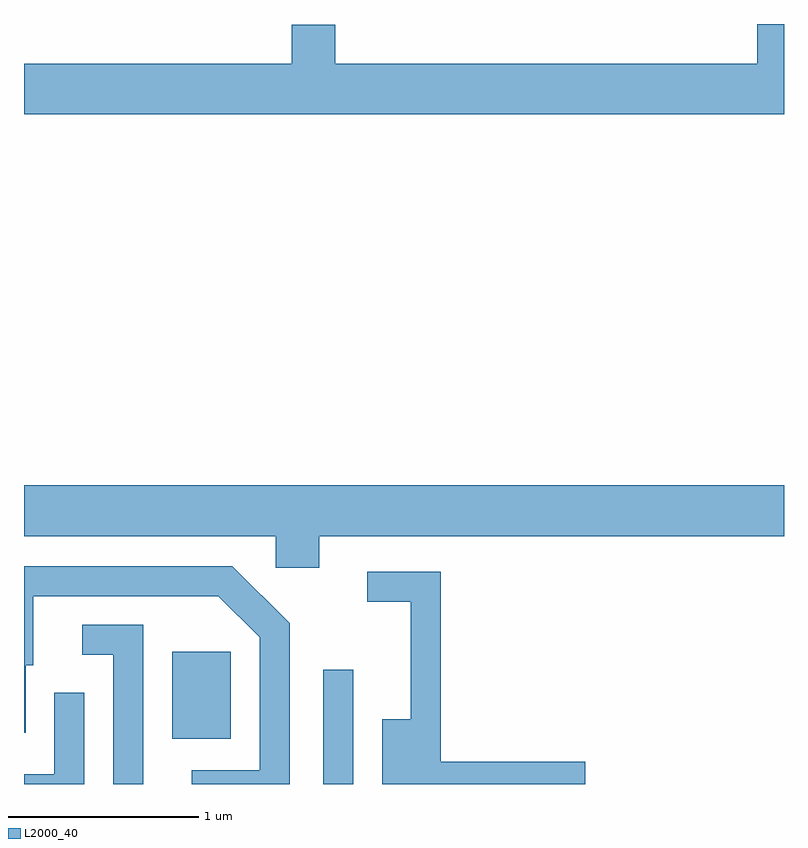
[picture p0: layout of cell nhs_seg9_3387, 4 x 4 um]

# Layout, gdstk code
import gdstk
lib = gdstk.Library(unit=1e-6, precision=1e-09)
def R(c, l, rs):  # rectangles x0, y0, x1, y1
    for r in rs: c.add(gdstk.rectangle(r[:2], r[2:], *l))
def P(c, l, *ps):  # polygons
    for p in ps: c.add(gdstk.Polygon(p, *l))
L2000_40 = (2000, 40)

nhs_seg9_3387 = lib.new_cell('nhs_seg9_3387')
R(nhs_seg9_3387, L2000_40, [(285.186,2070.432,285.344,2071.033), (284.391,2070.671,284.699,2071.129)])
P(nhs_seg9_3387, L2000_40, [(287.611,2074.432),(287.471,2074.432),(287.471,2074.224),(285.249,2074.224),(285.249,2074.429),(285.021,2074.429),(285.021,2074.224),(283.611,2074.224),(283.611,2073.956),(287.611,2073.956)],
  [(285.164,2071.736),(287.611,2071.736),(287.611,2072.004),(283.611,2072.004),(283.611,2071.736),(284.936,2071.736),(284.936,2071.571),(285.164,2071.571)],
  [(285.009,2071.277),(284.707,2071.579),(283.611,2071.579),(283.611,2070.701),(283.619,2070.701),(283.619,2071.056),(283.659,2071.056),(283.659,2071.421),(284.634,2071.421),(284.851,2071.204),(284.851,2070.504),(284.493,2070.504),(284.493,2070.432),(285.009,2070.432)],
  [(286.564,2070.549),(285.804,2070.549),(285.804,2071.549),(285.418,2071.549),(285.418,2071.391),(285.646,2071.391),(285.646,2070.774),(285.496,2070.774),(285.496,2070.432),(286.564,2070.432)],
  [(284.239,2071.269),(283.918,2071.269),(283.918,2071.111),(284.081,2071.111),(284.081,2070.432),(284.239,2070.432)],
  [(283.929,2070.913),(283.771,2070.913),(283.771,2070.484),(283.611,2070.484),(283.611,2070.432),(283.929,2070.432)])

lib.write_gds('nhs_seg9_3387.gds')
